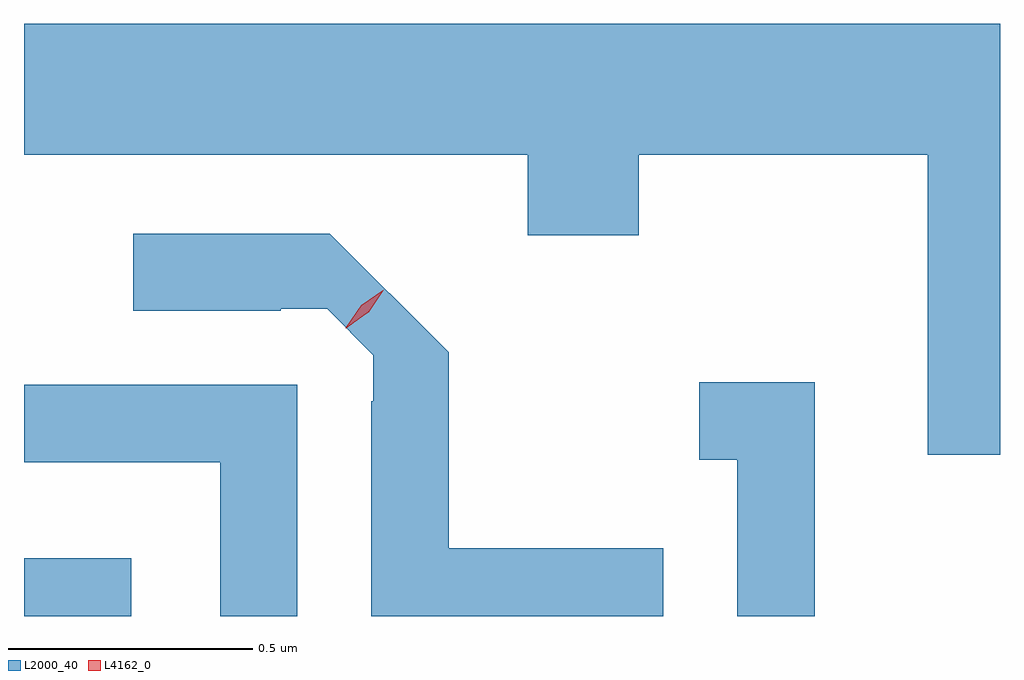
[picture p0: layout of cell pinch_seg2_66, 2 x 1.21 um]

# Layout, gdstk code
import gdstk
lib = gdstk.Library(unit=1e-6, precision=1e-09)
def R(c, l, rs):  # rectangles x0, y0, x1, y1
    for r in rs: c.add(gdstk.rectangle(r[:2], r[2:], *l))
def P(c, l, *ps):  # polygons
    for p in ps: c.add(gdstk.Polygon(p, *l))
L2000_40 = (2000, 40)
L4162_0 = (4162, 0)

pinch_seg2_66 = lib.new_cell('pinch_seg2_66')
R(pinch_seg2_66, L2000_40, [(1104.259,1113.97,1104.479,1114.089)])
P(pinch_seg2_66, L2000_40, [(1106.259,1115.184),(1104.259,1115.184),(1104.259,1114.916),(1105.291,1114.916),(1105.291,1114.751),(1105.519,1114.751),(1105.519,1114.916),(1106.111,1114.916),(1106.111,1114.301),(1106.259,1114.301)],
  [(1105.569,1114.109),(1105.129,1114.109),(1105.129,1114.511),(1104.886,1114.754),(1104.483,1114.754),(1104.483,1114.596),(1104.785,1114.596),(1104.785,1114.6),(1104.88,1114.6),(1104.975,1114.505),(1104.975,1114.41),(1104.971,1114.41),(1104.971,1113.97),(1105.569,1113.97)],
  [(1105.879,1114.449),(1105.643,1114.449),(1105.643,1114.291),(1105.721,1114.291),(1105.721,1113.97),(1105.879,1113.97)],
  [(1104.819,1114.444),(1104.259,1114.444),(1104.259,1114.286),(1104.661,1114.286),(1104.661,1113.97),(1104.819,1113.97)])
P(pinch_seg2_66, L4162_0, [(1104.918,1114.56),(1104.918,1114.561),(1104.95,1114.607),(1104.996,1114.639),(1104.996,1114.639),(1104.996,1114.639),(1104.964,1114.593),(1104.919,1114.56)],
  [(1104.921,1114.564),(1104.921,1114.565),(1104.95,1114.607),(1104.993,1114.636),(1104.994,1114.636),(1104.994,1114.636),(1104.965,1114.593),(1104.922,1114.564)])

lib.write_gds('pinch_seg2_66.gds')
